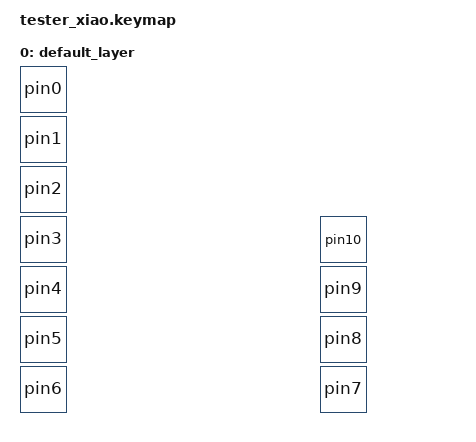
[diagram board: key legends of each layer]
#include <behaviors.dtsi>
#include <dt-bindings/zmk/keys.h>

#define PIN_MACRO(name, pin) \
/ { \
    macros { \
        name: name { \
            compatible = "zmk,behavior-macro"; \
            wait-ms = <5>; \
            tap-ms = <5>; \
            #binding-cells = <0>; \
            bindings = <&kp P &kp I &kp N &kp SPACE>, pin, <&kp ENTER>; \
        }; \
    }; \
};

PIN_MACRO(pin0, <&kp N0>)
PIN_MACRO(pin1, <&kp N1>)
PIN_MACRO(pin2, <&kp N2>)
PIN_MACRO(pin3, <&kp N3>)
PIN_MACRO(pin4, <&kp N4>)
PIN_MACRO(pin5, <&kp N5>)
PIN_MACRO(pin6, <&kp N6>)
PIN_MACRO(pin7, <&kp N7>)
PIN_MACRO(pin8, <&kp N8>)
PIN_MACRO(pin9, <&kp N9>)
PIN_MACRO(pin10, <&kp N1 &kp N0>)

/ {
    keymap {
        compatible = "zmk,keymap";

        default_layer {
            bindings = <&pin0
                        &pin1
                        &pin2
                        &pin3
                        &pin4
                        &pin5
                        &pin6
                        &pin7
                        &pin8
                        &pin9
                        &pin10>;
        };
    };
};
